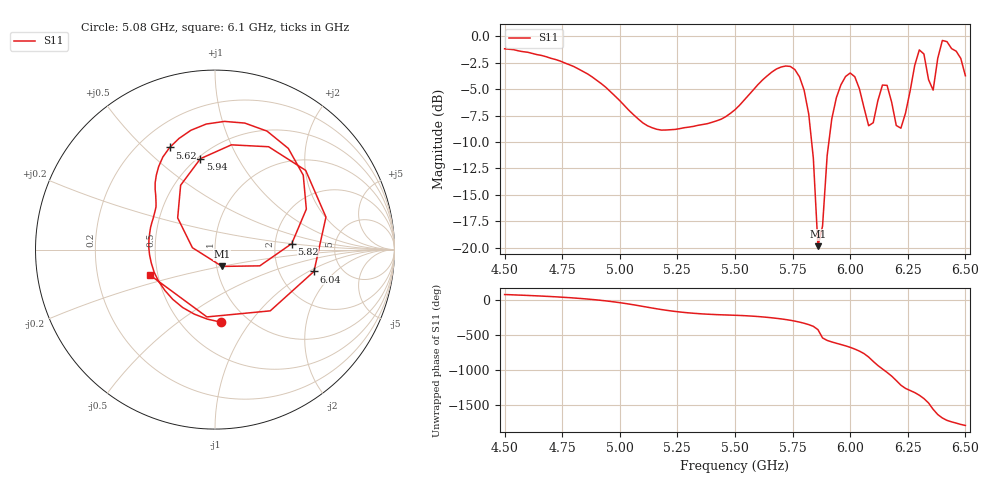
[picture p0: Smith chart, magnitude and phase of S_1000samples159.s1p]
! TOUCHSTONE file generated by CST MICROWAVE STUDIO
! Date and time: Thu Oct 27 05:00:31 2022
! Project name: L.cst
! Parameters = {Di=1.27; Epsilon_r=1.56; InnerDiameter=1.27; Length=2; Lf=10; Lg=60; OuterConductorThickness=0.2921; OuterDiameter=3.6; Wf=3; Wp=41.2; de=1.5; df=6.8; g=0.8; gx=4.96442; gy=1.15589; h=2.34; hf=1.524; px=14.488; py=13.2263; w=9.7; wx=9.52358; wy=12.0705}
! Header version: 2018
! Port assignment regex: !\s*Touchstone port\s*([0-9]+)\s*=\s*(CST MWS port|CST DS port)\s*([0-9]+|Zmin|Zmax)\s*\(\"(.*)\"\)(\s*mode\s*([0-9]+))?.*
! Touchstone port assignment:
! Touchstone port 1 = CST MWS port 1 ("")
# GHz S DB R 50
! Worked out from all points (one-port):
!   101 points, 4.5 GHz to 6.5 GHz, reference 50 ohm
!   lowest |S11| = -19.9 dB at 5.86 GHz (marker M1), VSWR 1.23, Z = 53.1 - j10.1 ohm
!   |S11| at or under -10 dB: 5.833 GHz to 5.907 GHz (74.69 MHz wide, 1.27 % of centre)
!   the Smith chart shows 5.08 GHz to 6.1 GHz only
!   S11 on the Smith chart (normalised r, x): 5.08 GHz: 0.76, -0.74; 5.62 GHz: 0.32, +0.60; 5.82 GHz: 2.48, +0.20; 5.94 GHz: 0.52, +0.71; 6.04 GHz: 3.15, -1.13; 6.1 GHz: 0.45, -0.15
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4.5  -1.17 72.4
4.76  -2.50 32.3
5  -6.08 -43.2
5.08  -7.82 -84.9
5.26  -8.73 -175.5
5.5  -6.94 137.3
5.62  -4.11 113.9
5.76  -3.15 54.1
5.82  -7.35 4.5
5.86  -19.86 -67.2
5.94  -5.80 99.1
6  -3.47 41.2
6.04  -4.96 -12.4
6.08  -8.46 -96.9
6.1  -8.17 -158.9
6.14  -4.61 93.2
6.18  -6.23 -8.0
6.2  -8.43 -71.3
6.26  -5.18 147.3
6.3  -1.28 79.7
6.32  -1.67 32.6
6.34  -4.09 -30.6
6.36  -5.09 -120.6
6.38  -2.08 164.8
6.4  -0.38 115.8
6.42  -0.50 82.1
6.46  -1.40 43.2
6.5  -3.73 9.6
